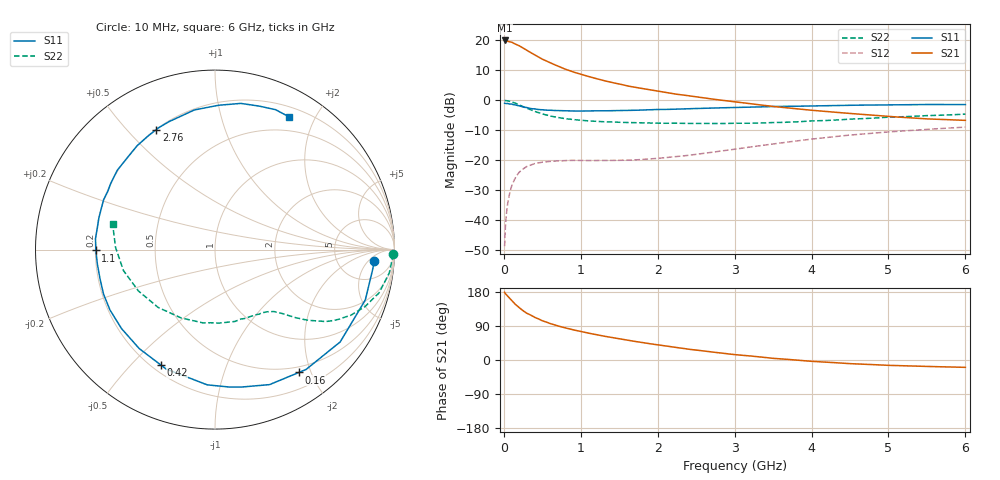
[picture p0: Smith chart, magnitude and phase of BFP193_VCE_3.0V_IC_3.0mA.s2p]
! Infineon Technologies  Discrete & RF Semiconductors
! BFP193
! VCE = 3.0 V,  IC =  3.0 mA
! Common Emitter S-Parameters:  Jan 2016
# GHz  S  MA  R  50
!  f  S11  S21  S12  S22
! GHz  MAG  ANG  MAG  ANG  MAG  ANG  MAG  ANG
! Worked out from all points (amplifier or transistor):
!   210 points, 10 MHz to 6 GHz, reference 50 ohm
!   highest |S21| = 19.9 dB at 10 MHz (marker M1)
!   |S21| within 3 dB of that: start of sweep to 280.5 MHz
!   unconditionally stable (mu >= 1): 1.452 GHz to 3.468 GHz
!   at 185 MHz: K = 0.15, MSG = 21.4 dB, |S12| = -24.5 dB
!   at 1.52 GHz: K = 1.03, MAG = 11.5 dB, |S12| = -20.0 dB
!   at 6 GHz: K = 0.94, MSG = 1.1 dB, |S12| = -9.0 dB
!   S11 on the Smith chart (normalised r, x): 10 MHz: 13, -8; 160 MHz: 0.42, -1.82; 420 MHz: 0.24, -0.61; 1.1 GHz: 0.20, -0.00; 2.76 GHz: 0.20, +0.61; 6 GHz: 0.32, +1.66
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0.01  0.8908 -4.0  9.916 178.7  0.0037 89.1  0.993 -1.5
0.02  0.8847 -7.6  9.65 175.1  0.0076 87.2  0.9894 -3.0
0.04  0.8801 -14.9  9.602 170.7  0.0152 81.2  0.9822 -6.1
0.1  0.8667 -36.4  9.334 157.6  0.0366 71.0  0.9452 -14.8
0.15  0.8386 -52.8  8.631 146.7  0.0511 62.3  0.8943 -20.8
0.16  0.8286 -55.7  8.508 145.1  0.0535 60.7  0.883 -21.8
0.2  0.8113 -68.0  8.089 138.1  0.0633 55.4  0.8406 -25.8
0.26  0.77 -84.0  7.291 128.6  0.0731 47.7  0.7725 -30.7
0.3  0.7548 -93.3  6.776 123.2  0.0788 44.2  0.7345 -33.1
0.42  0.71 -115.2  5.528 111.1  0.0888 35.7  0.6395 -37.7
0.5  0.6944 -127.5  4.84 103.6  0.0929 31.5  0.5914 -40.0
0.6  0.6818 -139.8  4.217 96.3  0.096 28.0  0.5468 -42.0
0.7  0.675 -150.1  3.714 90.0  0.0972 25.6  0.5161 -43.6
1.02  0.6604 -174.5  2.664 74.2  0.099 22.3  0.4615 -48.5
1.1  0.6636 -179.6  2.489 70.8  0.0988 22.5  0.4527 -49.9
1.6  0.68 156.0  1.738 52.4  0.1004 26.3  0.4256 -59.8
2.02  0.7016 140.0  1.401 39.5  0.108 32.8  0.4132 -69.7
2.76  0.7443 116.1  1.028 19.9  0.1389 40.8  0.4081 -91.4
3.1  0.7606 107.5  0.908 12.5  0.1593 41.8  0.413 -102.8
4.1  0.8075 86.8  0.665 -4.6  0.2324 36.5  0.4552 -138.2
5.1  0.8383 71.6  0.527 -14.6  0.3024 24.9  0.5268 -170.1
6  0.847 60.9  0.462 -19.4  0.3567 13.2  0.5871 166.2
